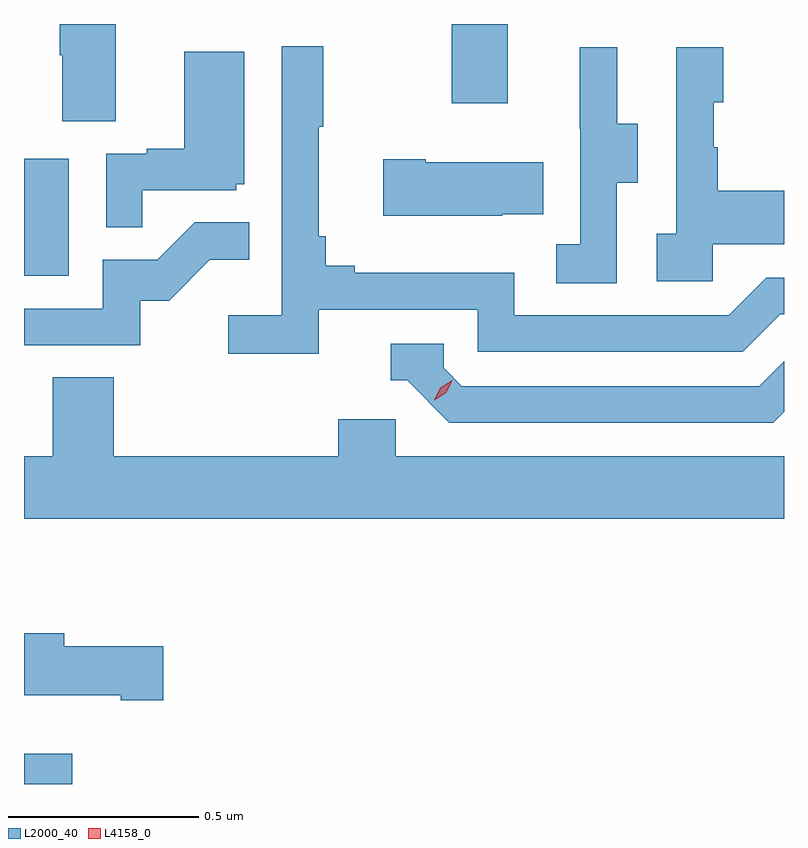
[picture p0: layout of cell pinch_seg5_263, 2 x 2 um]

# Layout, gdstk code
import gdstk
lib = gdstk.Library(unit=1e-6, precision=1e-09)
def R(c, l, rs):  # rectangles x0, y0, x1, y1
    for r in rs: c.add(gdstk.rectangle(r[:2], r[2:], *l))
def P(c, l, *ps):  # polygons
    for p in ps: c.add(gdstk.Polygon(p, *l))
L2000_40 = (2000, 40)
L4158_0 = (4158, 0)

pinch_seg5_263 = lib.new_cell('pinch_seg5_263')
R(pinch_seg5_263, L2000_40, [(913.728,900.018,913.855,900.097), (913.728,901.356,913.846,901.663), (914.854,901.809,915.001,902.018)])
P(pinch_seg5_263, L2000_40, [(913.969,902.018),(913.822,902.018),(913.822,901.936),(913.829,901.936),(913.829,901.762),(913.969,901.762)],
  [(914.504,901.266),(914.922,901.266),(914.922,901.155),(915.619,901.155),(915.718,901.254),(915.728,901.254),(915.728,901.35),(915.681,901.35),(915.582,901.251),(915.018,901.251),(915.018,901.363),(914.599,901.363),(914.599,901.382),(914.522,901.382),(914.522,901.459),(914.503,901.459),(914.503,901.747),(914.515,901.747),(914.515,901.96),(914.406,901.96),(914.406,901.252),(914.265,901.252),(914.265,901.15),(914.504,901.15)],
  [(915.288,901.6),(915.343,901.6),(915.343,901.755),(915.289,901.755),(915.289,901.957),(915.191,901.957),(915.191,901.743),(915.192,901.743),(915.192,901.439),(915.129,901.439),(915.129,901.336),(915.288,901.336)],
  [(915.54,901.439),(915.728,901.439),(915.728,901.579),(915.553,901.579),(915.553,901.694),(915.543,901.694),(915.543,901.812),(915.568,901.812),(915.568,901.957),(915.444,901.957),(915.444,901.466),(915.393,901.466),(915.393,901.341),(915.54,901.341)],
  [(914.039,901.581),(914.286,901.581),(914.286,901.596),(914.308,901.596),(914.308,901.945),(914.15,901.945),(914.15,901.69),(914.051,901.69),(914.051,901.677),(913.944,901.677),(913.944,901.483),(914.039,901.483)],
  [(914.987,901.517),(915.095,901.517),(915.095,901.654),(914.785,901.654),(914.785,901.662),(914.673,901.662),(914.673,901.514),(914.987,901.514)],
  [(914.034,901.29),(914.11,901.29),(914.217,901.397),(914.321,901.397),(914.321,901.496),(914.177,901.496),(914.079,901.398),(913.935,901.398),(913.935,901.269),(913.728,901.269),(913.728,901.173),(914.034,901.173)],
  [(915.728,900.997),(915.728,901.13),(915.663,901.065),(914.88,901.065),(914.832,901.113),(914.832,901.176),(914.693,901.176),(914.693,901.08),(914.736,901.08),(914.847,900.969),(915.7,900.969)],
  [(915.728,900.88),(914.706,900.88),(914.706,900.978),(914.555,900.978),(914.555,900.88),(913.964,900.88),(913.964,901.088),(913.804,901.088),(913.804,900.88),(913.728,900.88),(913.728,900.716),(915.728,900.716)],
  [(914.095,900.381),(913.834,900.381),(913.834,900.415),(913.728,900.415),(913.728,900.251),(913.982,900.251),(913.982,900.239),(914.095,900.239)])
P(pinch_seg5_263, L4158_0, [(914.808,901.028),(914.808,901.028),(914.824,901.061),(914.855,901.08),(914.855,901.08),(914.855,901.08),(914.839,901.047),(914.808,901.028)])

lib.write_gds('pinch_seg5_263.gds')
